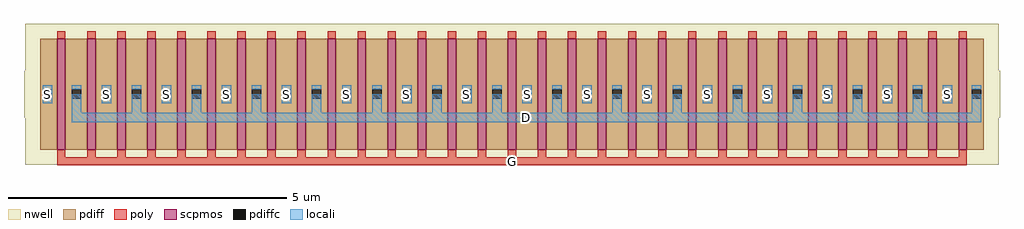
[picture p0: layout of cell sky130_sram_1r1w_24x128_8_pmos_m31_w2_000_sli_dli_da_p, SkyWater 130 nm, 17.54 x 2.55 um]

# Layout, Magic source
magic
tech sky130B
magscale 1 2
<< nwell >>
rect -54 -54 3444 454
<< scpmos >>
rect 60 0 90 400
rect 168 0 198 400
rect 276 0 306 400
rect 384 0 414 400
rect 492 0 522 400
rect 600 0 630 400
rect 708 0 738 400
rect 816 0 846 400
rect 924 0 954 400
rect 1032 0 1062 400
rect 1140 0 1170 400
rect 1248 0 1278 400
rect 1356 0 1386 400
rect 1464 0 1494 400
rect 1572 0 1602 400
rect 1680 0 1710 400
rect 1788 0 1818 400
rect 1896 0 1926 400
rect 2004 0 2034 400
rect 2112 0 2142 400
rect 2220 0 2250 400
rect 2328 0 2358 400
rect 2436 0 2466 400
rect 2544 0 2574 400
rect 2652 0 2682 400
rect 2760 0 2790 400
rect 2868 0 2898 400
rect 2976 0 3006 400
rect 3084 0 3114 400
rect 3192 0 3222 400
rect 3300 0 3330 400
<< pdiff >>
rect 0 0 60 400
rect 90 0 168 400
rect 198 0 276 400
rect 306 0 384 400
rect 414 0 492 400
rect 522 0 600 400
rect 630 0 708 400
rect 738 0 816 400
rect 846 0 924 400
rect 954 0 1032 400
rect 1062 0 1140 400
rect 1170 0 1248 400
rect 1278 0 1356 400
rect 1386 0 1464 400
rect 1494 0 1572 400
rect 1602 0 1680 400
rect 1710 0 1788 400
rect 1818 0 1896 400
rect 1926 0 2004 400
rect 2034 0 2112 400
rect 2142 0 2220 400
rect 2250 0 2328 400
rect 2358 0 2436 400
rect 2466 0 2544 400
rect 2574 0 2652 400
rect 2682 0 2760 400
rect 2790 0 2868 400
rect 2898 0 2976 400
rect 3006 0 3084 400
rect 3114 0 3192 400
rect 3222 0 3300 400
rect 3330 0 3390 400
<< poly >>
rect 60 400 90 426
rect 168 400 198 426
rect 276 400 306 426
rect 384 400 414 426
rect 492 400 522 426
rect 600 400 630 426
rect 708 400 738 426
rect 816 400 846 426
rect 924 400 954 426
rect 1032 400 1062 426
rect 1140 400 1170 426
rect 1248 400 1278 426
rect 1356 400 1386 426
rect 1464 400 1494 426
rect 1572 400 1602 426
rect 1680 400 1710 426
rect 1788 400 1818 426
rect 1896 400 1926 426
rect 2004 400 2034 426
rect 2112 400 2142 426
rect 2220 400 2250 426
rect 2328 400 2358 426
rect 2436 400 2466 426
rect 2544 400 2574 426
rect 2652 400 2682 426
rect 2760 400 2790 426
rect 2868 400 2898 426
rect 2976 400 3006 426
rect 3084 400 3114 426
rect 3192 400 3222 426
rect 3300 400 3330 426
rect 60 -26 90 0
rect 168 -26 198 0
rect 276 -26 306 0
rect 384 -26 414 0
rect 492 -26 522 0
rect 600 -26 630 0
rect 708 -26 738 0
rect 816 -26 846 0
rect 924 -26 954 0
rect 1032 -26 1062 0
rect 1140 -26 1170 0
rect 1248 -26 1278 0
rect 1356 -26 1386 0
rect 1464 -26 1494 0
rect 1572 -26 1602 0
rect 1680 -26 1710 0
rect 1788 -26 1818 0
rect 1896 -26 1926 0
rect 2004 -26 2034 0
rect 2112 -26 2142 0
rect 2220 -26 2250 0
rect 2328 -26 2358 0
rect 2436 -26 2466 0
rect 2544 -26 2574 0
rect 2652 -26 2682 0
rect 2760 -26 2790 0
rect 2868 -26 2898 0
rect 2976 -26 3006 0
rect 3084 -26 3114 0
rect 3192 -26 3222 0
rect 3300 -26 3330 0
rect 60 -56 3330 -26
<< locali >>
rect 8 167 42 233
rect 112 133 146 200
rect 220 167 254 233
rect 328 133 362 200
rect 436 167 470 233
rect 544 133 578 200
rect 652 167 686 233
rect 760 133 794 200
rect 868 167 902 233
rect 976 133 1010 200
rect 1084 167 1118 233
rect 1192 133 1226 200
rect 1300 167 1334 233
rect 1408 133 1442 200
rect 1516 167 1550 233
rect 1624 133 1658 200
rect 1732 167 1766 233
rect 1840 133 1874 200
rect 1948 167 1982 233
rect 2056 133 2090 200
rect 2164 167 2198 233
rect 2272 133 2306 200
rect 2380 167 2414 233
rect 2488 133 2522 200
rect 2596 167 2630 233
rect 2704 133 2738 200
rect 2812 167 2846 233
rect 2920 133 2954 200
rect 3028 167 3062 233
rect 3136 133 3170 200
rect 3244 167 3278 233
rect 3348 133 3382 200
rect 112 99 3382 133
use sky130_sram_1r1w_24x128_8_contact_11  sky130_sram_1r1w_24x128_8_contact_11_0
transform 1 0 3340 0 1 167
box -59 -51 109 117
use sky130_sram_1r1w_24x128_8_contact_11  sky130_sram_1r1w_24x128_8_contact_11_1
transform 1 0 3236 0 1 167
box -59 -51 109 117
use sky130_sram_1r1w_24x128_8_contact_11  sky130_sram_1r1w_24x128_8_contact_11_2
transform 1 0 3128 0 1 167
box -59 -51 109 117
use sky130_sram_1r1w_24x128_8_contact_11  sky130_sram_1r1w_24x128_8_contact_11_3
transform 1 0 3020 0 1 167
box -59 -51 109 117
use sky130_sram_1r1w_24x128_8_contact_11  sky130_sram_1r1w_24x128_8_contact_11_4
transform 1 0 2912 0 1 167
box -59 -51 109 117
use sky130_sram_1r1w_24x128_8_contact_11  sky130_sram_1r1w_24x128_8_contact_11_5
transform 1 0 2804 0 1 167
box -59 -51 109 117
use sky130_sram_1r1w_24x128_8_contact_11  sky130_sram_1r1w_24x128_8_contact_11_6
transform 1 0 2696 0 1 167
box -59 -51 109 117
use sky130_sram_1r1w_24x128_8_contact_11  sky130_sram_1r1w_24x128_8_contact_11_7
transform 1 0 2588 0 1 167
box -59 -51 109 117
use sky130_sram_1r1w_24x128_8_contact_11  sky130_sram_1r1w_24x128_8_contact_11_8
transform 1 0 2480 0 1 167
box -59 -51 109 117
use sky130_sram_1r1w_24x128_8_contact_11  sky130_sram_1r1w_24x128_8_contact_11_9
transform 1 0 2372 0 1 167
box -59 -51 109 117
use sky130_sram_1r1w_24x128_8_contact_11  sky130_sram_1r1w_24x128_8_contact_11_10
transform 1 0 2264 0 1 167
box -59 -51 109 117
use sky130_sram_1r1w_24x128_8_contact_11  sky130_sram_1r1w_24x128_8_contact_11_11
transform 1 0 2156 0 1 167
box -59 -51 109 117
use sky130_sram_1r1w_24x128_8_contact_11  sky130_sram_1r1w_24x128_8_contact_11_12
transform 1 0 2048 0 1 167
box -59 -51 109 117
use sky130_sram_1r1w_24x128_8_contact_11  sky130_sram_1r1w_24x128_8_contact_11_13
transform 1 0 1940 0 1 167
box -59 -51 109 117
use sky130_sram_1r1w_24x128_8_contact_11  sky130_sram_1r1w_24x128_8_contact_11_14
transform 1 0 1832 0 1 167
box -59 -51 109 117
use sky130_sram_1r1w_24x128_8_contact_11  sky130_sram_1r1w_24x128_8_contact_11_15
transform 1 0 1724 0 1 167
box -59 -51 109 117
use sky130_sram_1r1w_24x128_8_contact_11  sky130_sram_1r1w_24x128_8_contact_11_16
transform 1 0 1616 0 1 167
box -59 -51 109 117
use sky130_sram_1r1w_24x128_8_contact_11  sky130_sram_1r1w_24x128_8_contact_11_17
transform 1 0 1508 0 1 167
box -59 -51 109 117
use sky130_sram_1r1w_24x128_8_contact_11  sky130_sram_1r1w_24x128_8_contact_11_18
transform 1 0 1400 0 1 167
box -59 -51 109 117
use sky130_sram_1r1w_24x128_8_contact_11  sky130_sram_1r1w_24x128_8_contact_11_19
transform 1 0 1292 0 1 167
box -59 -51 109 117
use sky130_sram_1r1w_24x128_8_contact_11  sky130_sram_1r1w_24x128_8_contact_11_20
transform 1 0 1184 0 1 167
box -59 -51 109 117
use sky130_sram_1r1w_24x128_8_contact_11  sky130_sram_1r1w_24x128_8_contact_11_21
transform 1 0 1076 0 1 167
box -59 -51 109 117
use sky130_sram_1r1w_24x128_8_contact_11  sky130_sram_1r1w_24x128_8_contact_11_22
transform 1 0 968 0 1 167
box -59 -51 109 117
use sky130_sram_1r1w_24x128_8_contact_11  sky130_sram_1r1w_24x128_8_contact_11_23
transform 1 0 860 0 1 167
box -59 -51 109 117
use sky130_sram_1r1w_24x128_8_contact_11  sky130_sram_1r1w_24x128_8_contact_11_24
transform 1 0 752 0 1 167
box -59 -51 109 117
use sky130_sram_1r1w_24x128_8_contact_11  sky130_sram_1r1w_24x128_8_contact_11_25
transform 1 0 644 0 1 167
box -59 -51 109 117
use sky130_sram_1r1w_24x128_8_contact_11  sky130_sram_1r1w_24x128_8_contact_11_26
transform 1 0 536 0 1 167
box -59 -51 109 117
use sky130_sram_1r1w_24x128_8_contact_11  sky130_sram_1r1w_24x128_8_contact_11_27
transform 1 0 428 0 1 167
box -59 -51 109 117
use sky130_sram_1r1w_24x128_8_contact_11  sky130_sram_1r1w_24x128_8_contact_11_28
transform 1 0 320 0 1 167
box -59 -51 109 117
use sky130_sram_1r1w_24x128_8_contact_11  sky130_sram_1r1w_24x128_8_contact_11_29
transform 1 0 212 0 1 167
box -59 -51 109 117
use sky130_sram_1r1w_24x128_8_contact_11  sky130_sram_1r1w_24x128_8_contact_11_30
transform 1 0 104 0 1 167
box -59 -51 109 117
use sky130_sram_1r1w_24x128_8_contact_11  sky130_sram_1r1w_24x128_8_contact_11_31
transform 1 0 0 0 1 167
box -59 -51 109 117
<< labels >>
rlabel poly s 1695 -41 1695 -41 4 G
port 1 nsew
rlabel locali s 885 200 885 200 4 S
port 2 nsew
rlabel locali s 2397 200 2397 200 4 S
port 2 nsew
rlabel locali s 237 200 237 200 4 S
port 2 nsew
rlabel locali s 3045 200 3045 200 4 S
port 2 nsew
rlabel locali s 1317 200 1317 200 4 S
port 2 nsew
rlabel locali s 1533 200 1533 200 4 S
port 2 nsew
rlabel locali s 2829 200 2829 200 4 S
port 2 nsew
rlabel locali s 1749 200 1749 200 4 S
port 2 nsew
rlabel locali s 669 200 669 200 4 S
port 2 nsew
rlabel locali s 2613 200 2613 200 4 S
port 2 nsew
rlabel locali s 2181 200 2181 200 4 S
port 2 nsew
rlabel locali s 3261 200 3261 200 4 S
port 2 nsew
rlabel locali s 1965 200 1965 200 4 S
port 2 nsew
rlabel locali s 1101 200 1101 200 4 S
port 2 nsew
rlabel locali s 25 200 25 200 4 S
port 2 nsew
rlabel locali s 453 200 453 200 4 S
port 2 nsew
rlabel locali s 1747 116 1747 116 4 D
port 3 nsew
<< properties >>
string FIXED_BBOX -54 -56 3444 454
<< end >>

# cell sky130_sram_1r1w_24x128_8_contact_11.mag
magic
tech sky130B
magscale 1 2
<< nwell >>
rect -59 -51 109 117
<< pdiff >>
rect 0 50 50 62
rect 0 16 8 50
rect 42 16 50 50
rect 0 4 50 16
<< pdiffc >>
rect 8 16 42 50
<< locali >>
rect 8 50 42 66
rect 8 0 42 16
<< properties >>
string FIXED_BBOX -59 -51 109 117
<< end >>
